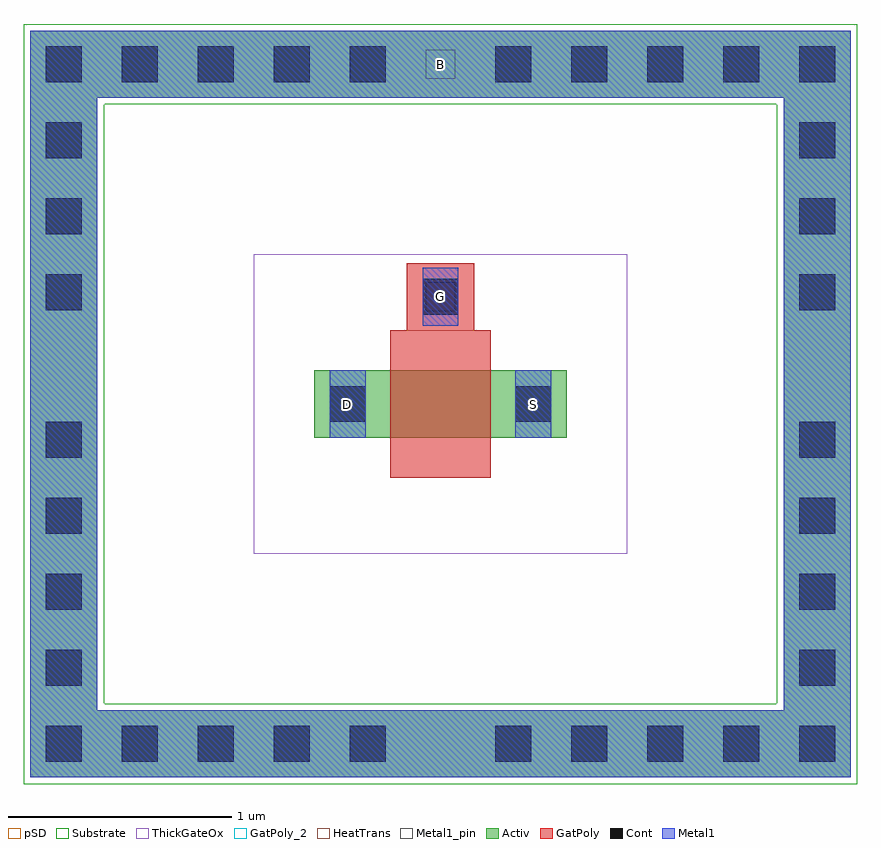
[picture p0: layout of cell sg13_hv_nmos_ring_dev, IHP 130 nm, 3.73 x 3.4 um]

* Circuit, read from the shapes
.subckt sg13_hv_nmos_ring_dev B D G S
XM1 S G D B sg13_hv_nmos w=0.3u l=0.45u
.ends

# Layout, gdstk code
from math import pi, radians
import gdstk
lib = gdstk.Library(unit=1e-6, precision=1e-09)
def R(c, l, rs):  # rectangles x0, y0, x1, y1
    for r in rs: c.add(gdstk.rectangle(r[:2], r[2:], *l))
def A(c, l, x, y, w, h, nx, ny, dx, dy):  # array of equal rectangles
    R(c, l, [(x+i*dx, y+j*dy, x+i*dx+w, y+j*dy+h) for i in range(nx) for j in range(ny)])
def P(c, l, *ps):  # polygons
    for p in ps: c.add(gdstk.Polygon(p, *l))
Activ = (1, 0)
GatPoly = (5, 0)
GatPoly_2 = (5, 2)
Cont = (6, 0)
Metal1 = (8, 0)
Metal1_pin = (8, 2)
pSD = (14, 0)
Substrate = (40, 0)
ThickGateOx = (44, 0)
HeatTrans = (51, 0)

nmoshv = lib.new_cell('nmosHV')
R(nmoshv, Activ, [(-1.27,-1.22,-0.97,1.52), (2.1,-1.22,2.4,1.52), (0,0,0.3,0.3), (0,0,1.13,0.3), (0.83,0,1.13,0.3), (-1.27,1.52,2.4,1.82)])
P(nmoshv, Activ, [(-1.27,-1.52),(-1.27,1.52),(-0.97,1.52),(-0.97,-1.22),(2.1,-1.22),(2.1,1.52),(-1.27,1.52),(-1.27,1.82),(2.4,1.82),(2.4,-1.52)])
R(nmoshv, GatPoly, [(0.34,-0.18,0.79,0.48)])
R(nmoshv, GatPoly_2, [(0.34,-0.18,0.79,0.48)])
A(nmoshv, Cont, -1.2, -1.45, 0.16, 0.16, 5, 2, 0.34, 3.04)
A(nmoshv, Cont, 0.81, -1.45, 0.16, 0.16, 5, 2, 0.34, 3.04)
A(nmoshv, Cont, -1.2, -1.11, 0.16, 0.16, 1, 3, 0, 0.34)
A(nmoshv, Cont, 2.17, -1.11, 0.16, 0.16, 1, 3, 0, 0.34)
A(nmoshv, Cont, -1.2, 0.23, 0.16, 0.16, 1, 4, 0, 0.34)
A(nmoshv, Cont, 2.17, 0.23, 0.16, 0.16, 1, 4, 0, 0.34)
R(nmoshv, Cont, [(0.07,0.07,0.23,0.23), (0.9,0.07,1.06,0.23)])
R(nmoshv, Metal1, [(-1.27,-1.52,2.4,-1.22), (-1.27,-1.22,-0.97,1.52), (2.1,-1.22,2.4,1.52), (0.07,0,0.23,0.3), (0.9,0,1.06,0.3), (-1.27,1.52,2.4,1.82)])
R(nmoshv, Metal1_pin, [(0.07,0,0.23,0.3), (0.9,0,1.06,0.3)])
R(nmoshv, pSD, [(-1.3,-1.19,-0.94,1.49), (2.07,-1.19,2.43,1.49), (-1.3,1.49,2.43,1.85)])
P(nmoshv, pSD, [(-1.3,-1.55),(-1.3,1.49),(-0.94,1.49),(-0.94,-1.19),(2.07,-1.19),(2.07,1.49),(-1.3,1.49),(-1.3,1.85),(2.43,1.85),(2.43,-1.55)])
R(nmoshv, Substrate, [(-1.3,-1.19,-0.94,1.49), (2.07,-1.19,2.43,1.49), (-1.3,1.49,2.43,1.85)])
P(nmoshv, Substrate, [(-1.3,-1.55),(-1.3,1.49),(-0.94,1.49),(-0.94,-1.19),(2.07,-1.19),(2.07,1.49),(-1.3,1.49),(-1.3,1.85),(2.43,1.85),(2.43,-1.55)])
R(nmoshv, ThickGateOx, [(-0.27,-0.52,1.4,0.82)])
R(nmoshv, HeatTrans, [(0.34,-0.18,0.79,0.48)])
nmoshv.add(gdstk.Label('nmosHV', (0.565,0.15), layer=63, texttype=0))
nmoshv.add(gdstk.Label('sub!', (0.565,-1.37), layer=63, texttype=0))
nmoshv.add(gdstk.Label('nmosHV', (0.565,0.15), layer=51, texttype=0))

via = lib.new_cell('Via')
R(via, GatPoly, [(-0.15,-0.15,0.15,0.15)])
R(via, Cont, [(-0.08,-0.08,0.08,0.08)])
R(via, Metal1, [(-0.13,-0.08,0.13,0.08)])

sg13_hv_nmos_ring_dev = lib.new_cell('sg13_hv_nmos_ring_dev')
R(sg13_hv_nmos_ring_dev, Metal1_pin, [(0.355,0.905,0.485,1.035), (1.185,0.905,1.315,1.035), (0.77,1.385,0.9,1.515), (0.77,2.425,0.9,2.555)])
sg13_hv_nmos_ring_dev.add(gdstk.Reference(nmoshv, (1.4,1.12), rotation=pi))
sg13_hv_nmos_ring_dev.add(gdstk.Reference(via, (0.835,1.45), rotation=3*pi/2))
sg13_hv_nmos_ring_dev.add(gdstk.Label('B', (0.835,2.49), layer=8, texttype=25))
sg13_hv_nmos_ring_dev.add(gdstk.Label('D', (0.42,0.97), layer=8, texttype=25))
sg13_hv_nmos_ring_dev.add(gdstk.Label('S', (1.25,0.97), layer=8, texttype=25))
sg13_hv_nmos_ring_dev.add(gdstk.Label('G', (0.835,1.45), layer=8, texttype=25))

lib.write_gds('sg13_hv_nmos_ring_dev.gds')
